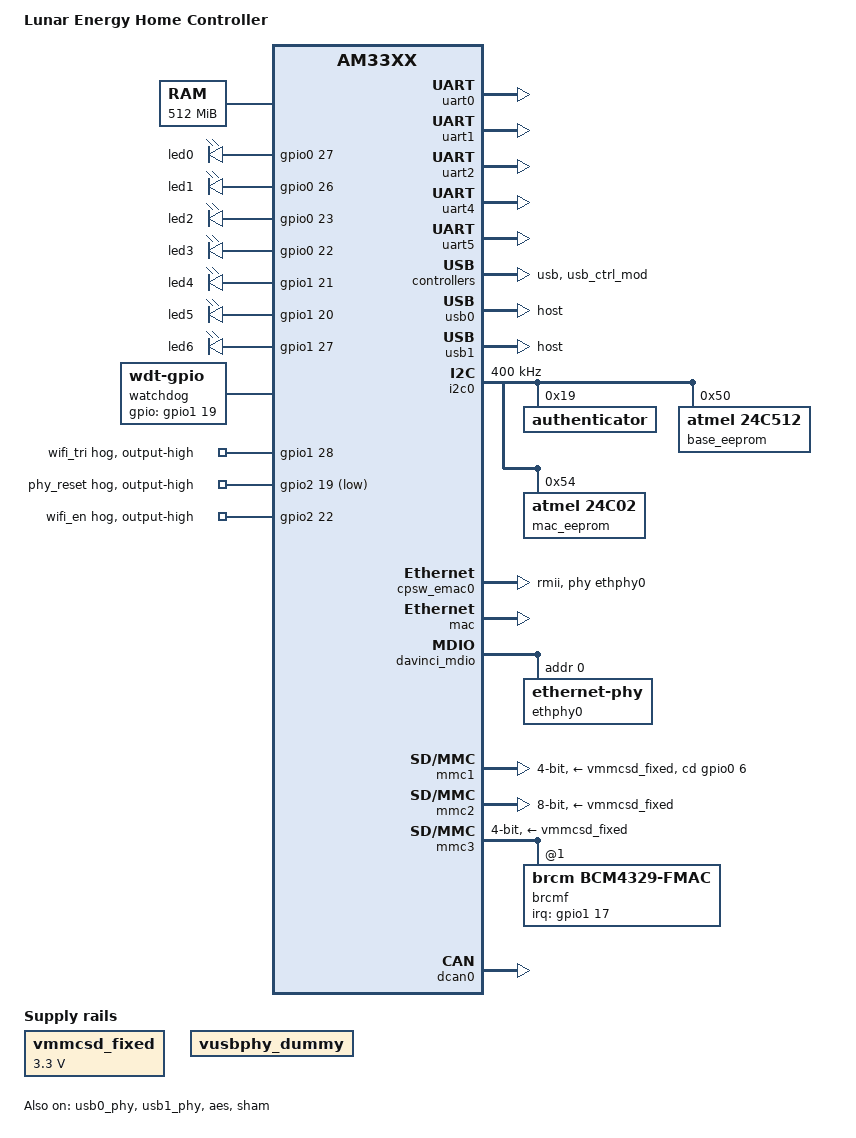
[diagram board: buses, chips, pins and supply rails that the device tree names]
// SPDX-License-Identifier: GPL-2.0-only
/*
 * Copyright (C) 2012 Texas Instruments Incorporated - http://www.ti.com/
 */
/dts-v1/;

#include "am33xx.dtsi"
#include <dt-bindings/interrupt-controller/irq.h>

/ {
	model = "Lunar Energy Home Controller";
	compatible = "ti,am335x-bone-black", "ti,am335x-bone", "ti,am33xx";
};

/ {
	cpus {
		cpu@0 {
		};
	};

	memory@80000000 {
		device_type = "memory";
		reg = <0x80000000 0x20000000>; /* 512 MB */
	};

	chosen {
		stdout-path = &uart0;
	};

	leds {
		pinctrl-names = "default";
		pinctrl-0 = <&user_leds_s0>;

		compatible = "gpio-leds";

		usr_0_led {
			label = "led0";
			gpios = <&gpio0 27 GPIO_ACTIVE_HIGH>;
			default-state = "off";
		};
		usr_1_led {
			label = "led1";
			gpios = <&gpio0 26 GPIO_ACTIVE_HIGH>;
			default-state = "off";
		};
		usr_2_led {
			label = "led2";
			gpios = <&gpio0 23 GPIO_ACTIVE_HIGH>;
			default-state = "off";
		};
		usr_3_led {
			label = "led3";
			gpios = <&gpio0 22 GPIO_ACTIVE_HIGH>;
			default-state = "off";
		};
		usr_4_led {
			label = "led4";
			gpios = <&gpio1 21 GPIO_ACTIVE_HIGH>;
			default-state = "off";
		};
		usr_5_led {
			label = "led5";
			gpios = <&gpio1 20 GPIO_ACTIVE_HIGH>;
			default-state = "off";
		};
		usr_6_led {
			label = "led6";
			gpios = <&gpio1 27 GPIO_ACTIVE_HIGH>;
			default-state = "off";
		};
	};

	vmmcsd_fixed: fixedregulator0 {
		compatible = "regulator-fixed";
		regulator-name = "vmmcsd_fixed";
		regulator-min-microvolt = <3300000>;
		regulator-max-microvolt = <3300000>;
	};

	vusbphy_dummy: fixedregulator1 {
		compatible = "regulator-fixed";
		regulator-name = "vusbphy_dummy";
		regulator-always-on;
	};

	bandgap@44e10448 {
		compatible = "ti,am335x-bandgap";
		reg = <0x44e10448 0x8>;
	};

	watchdog: watchdog {
		/* MAX6371 on GPIO */
		pinctrl-names = "default";
		pinctrl-0 = <&wdog_pins>;
		compatible = "linux,wdt-gpio";
		gpios = <&gpio1 19 GPIO_ACTIVE_HIGH>;
		hw_algo = "toggle";
		hw_margin_ms = <60000>;
	};
};

&cpu0_opp_table {
	oppnitro-1000000000 {
		opp-supported-hw = <0x06 0x0100>;
	};
};

&gpio3 {
	status = "okay";
};

&am33xx_pinmux {
	pinctrl-names = "default";
	pinctrl-0 = < &clkout2_pin &gpio_pins >;

	/* GPIOs
		GPIO0_2 is DC_PLC_RST
		GPIO0_3 is GPIO1
		GPIO0_4 is GPIO0
		GPIO0_5 is AC_PLC_RST
		GPIO1_24 is EXT_BUT
		GPIO3_4 is AC_PLC_SEL
		GPIO3_14 is DC_PLC_SEL
	*/
	gpio_pins: pinmux_gpio_pins {
		pinctrl-single,pins = <
			AM33XX_IOPAD(AM335X_PIN_SPI0_SCLK, PIN_OUTPUT | MUX_MODE7)			/* (A17) spi0_sclk.gpio0_2 */
			AM33XX_IOPAD(AM335X_PIN_SPI0_D0, PIN_OUTPUT | MUX_MODE7)			/* (B17) spi0_d0.gpio0_3 */
			AM33XX_IOPAD(AM335X_PIN_SPI0_D1, PIN_OUTPUT | MUX_MODE7)			/* (B16) spi0_d1.gpio0_4 */
			AM33XX_IOPAD(AM335X_PIN_SPI0_CS0, PIN_OUTPUT | MUX_MODE7)			/* (A16) spi0_cs0.gpio0_5 */
			AM33XX_IOPAD(AM335X_PIN_GPMC_A8, PIN_INPUT | MUX_MODE7)				/* (V16) gpmc_a8.gpio1_24 */
			AM33XX_IOPAD(AM335X_PIN_MII1_RX_DV, PIN_OUTPUT | MUX_MODE7)			/* (J17) gmii1_rxdv.gpio3_4 */
			AM33XX_IOPAD(AM335X_PIN_MCASP0_ACLKX, PIN_OUTPUT | MUX_MODE7)			/* (A13) mcasp0_aclkx.gpio3_14 */
		>;
	};

	/* USB0 = BG95 Cellular comms
		GPIO0_18 is USB0_EN
	*/
	usb0_pins: pinmux_usb0_pins {
		pinctrl-single,pins = <
			AM33XX_IOPAD(AM335X_PIN_USB0_DRVVBUS, PIN_OUTPUT_PULLDOWN | MUX_MODE7)		/* (F16) usb0_drvvbus.gpio0_18 */
		>;
	};

        /* BG95
                GPIO1_16 is BG_ANT_SEL
		GPIO1_22 is BG_STATUS
		GPIO3_15 is PWR_KEY
         */
        bg95_pins: pinmux_bg95_pins {
                pinctrl-single,pins = <
			AM33XX_IOPAD(AM335X_PIN_GPMC_A0, PIN_OUTPUT | MUX_MODE7)			/* (R13) gpmc_a0.gpio1_16 */
			AM33XX_IOPAD(AM335X_PIN_GPMC_A6, PIN_INPUT | MUX_MODE7)				/* (U15) gpmc_a6.gpio1_22 */
			AM33XX_IOPAD(AM335X_PIN_MCASP0_FSX, PIN_OUTPUT_PULLDOWN | MUX_MODE7)		/* (B13) mcasp0_fsx.gpio3_15 */
                >;
        };


	/* USB1 = Host comms
		GPIO3_13 is USB1_EN
	*/
	usb1_pins: pinmux_usb1_pins {
		pinctrl-single,pins = <
			AM33XX_IOPAD(AM335X_PIN_USB1_DRVVBUS, PIN_OUTPUT_PULLDOWN | MUX_MODE7)		/* (F15) usb1_drvvbus.gpio3_13 */
		>;
	};

	clkout2_pin: pinmux_clkout2_pin {
		pinctrl-single,pins = <
			AM33XX_IOPAD(AM335X_PIN_XDMA_EVENT_INTR1, PIN_OUTPUT_PULLDOWN | MUX_MODE3)	/* (D14) xdma_event_intr1.clkout2 */
		>;
	};

	/* User LEDs */
	user_leds_s0: user_leds_s0 {
		pinctrl-single,pins = <
			AM33XX_IOPAD(AM335X_PIN_GPMC_AD11, PIN_OUTPUT | MUX_MODE7)			/* (U12) gpmc_ad11.gpio0_27 */
			AM33XX_IOPAD(AM335X_PIN_GPMC_AD10, PIN_OUTPUT | MUX_MODE7)			/* (T11) gpmc_ad10.gpio0_26 */
			AM33XX_IOPAD(AM335X_PIN_GPMC_AD9, PIN_OUTPUT | MUX_MODE7)			/* (T10) gpmc_ad9.gpio0_23 */
			AM33XX_IOPAD(AM335X_PIN_GPMC_AD8, PIN_OUTPUT | MUX_MODE7)			/* (U10) gpmc_ad8.gpio0_22 */
			AM33XX_IOPAD(AM335X_PIN_GPMC_A5, PIN_OUTPUT | MUX_MODE7)			/* (V15) gpmc_a5.gpio1_21 */
			AM33XX_IOPAD(AM335X_PIN_GPMC_A4, PIN_OUTPUT | MUX_MODE7)			/* (R14) gpmc_a4.gpio1_20 */
			AM33XX_IOPAD(AM335X_PIN_GPMC_A11, PIN_OUTPUT | MUX_MODE7)			/* (V17) gpmc_a11.gpio1_27 */
		>;
	};

	/* I2C_0 = Authenticator, EEPROM, RTC/Wdog, MAC EEPROM */
	i2c0_pins: pinmux_i2c0_pins {
		pinctrl-single,pins = <
			AM33XX_IOPAD(AM335X_PIN_I2C0_SCL, PIN_INPUT_PULLUP | MUX_MODE0)			/* (C16) i2c0_scl.i2c0_scl */
			AM33XX_IOPAD(AM335X_PIN_I2C0_SDA, PIN_INPUT_PULLUP | MUX_MODE0)			/* (C17) i2c0_sda.i2c0_sda */
		>;
	};

	/* UART0 = Console */
	uart0_pins: pinmux_uart0_pins {
		pinctrl-single,pins = <
			AM33XX_IOPAD(AM335X_PIN_UART0_RXD, PIN_INPUT_PULLUP | MUX_MODE0)		/* (E15) uart0_rxd.uart0_rxd */
			AM33XX_IOPAD(AM335X_PIN_UART0_TXD, PIN_OUTPUT_PULLDOWN | MUX_MODE0)		/* (E16) uart0_txd.uart0_txd */
		>;
	};

	/* UART1 = AC PLC comms */
	uart1_pins: pinmux_uart1_pins {
		pinctrl-single,pins = <
			AM33XX_IOPAD(AM335X_PIN_UART1_RXD, PIN_INPUT | MUX_MODE0)			/* (D16) uart1_rxd.uart1_rxd */
			AM33XX_IOPAD(AM335X_PIN_UART1_TXD, PIN_OUTPUT | MUX_MODE0)			/* (D15) uart1_txd.uart1_txd */
		>;
	};

	/* UART2 = DC PLC comms */
	uart2_pins: uart2_pins_default {
		pinctrl-single,pins = <
			AM33XX_IOPAD(AM335X_PIN_MII1_TX_CLK, PIN_INPUT | MUX_MODE1)			/* (K18) gmii1_tx_clk.uart2_rxd */
			AM33XX_IOPAD(AM335X_PIN_MII1_RX_CLK, PIN_OUTPUT | MUX_MODE1)			/* (L18) gmii1_rx_clk.uart2_txd */
		>;
	};

	/* UART4 = RS485
		GPIO2_24 is RS_TXEN
		GPIO2_25 is RS_RXEN
	 */
	uart4_pins: uart4_pins_default {
		pinctrl-single,pins = <
			AM33XX_IOPAD(AM335X_PIN_MII1_TXD3, PIN_INPUT | MUX_MODE3)			/* (J18) gmii1_txd3.uart4_rxd */
			AM33XX_IOPAD(AM335X_PIN_MII1_TXD2, PIN_OUTPUT | MUX_MODE3)			/* (K15) gmii1_txd2.uart4_txd */
			AM33XX_IOPAD(AM335X_PIN_LCD_PCLK, PIN_OUTPUT_PULLUP | MUX_MODE7)		/* (V5) lcd_pclk.gpio2_24 */
			AM33XX_IOPAD(AM335X_PIN_LCD_AC_BIAS_EN,	PIN_OUTPUT_PULLUP | MUX_MODE7)		/* (R6)	lcd_ac_bias_en.gpio2_25 */
		>;
	};

	/* UART5 = BT
		GPIO2_23 is BT_EN
	 */
	uart5_pins: uart5_pins_default {
		pinctrl-single,pins = <
			AM33XX_IOPAD(AM335X_PIN_LCD_DATA9, PIN_INPUT | MUX_MODE4)			/* (U2) lcd_data9.uart5_rxd */
			AM33XX_IOPAD(AM335X_PIN_LCD_DATA8, PIN_OUTPUT | MUX_MODE4)			/* (U1) lcd_data8.uart5_txd */
			AM33XX_IOPAD(AM335X_PIN_LCD_DATA14, PIN_INPUT | MUX_MODE6)			/* (V4) lcd_data14.uart5_ctsn */
			AM33XX_IOPAD(AM335X_PIN_LCD_DATA15, PIN_OUTPUT | MUX_MODE6)			/* (T5) lcd_data15.uart5_rtsn */
			AM33XX_IOPAD(AM335X_PIN_LCD_HSYNC, PIN_OUTPUT_PULLDOWN | MUX_MODE7)		/* (R5) lcd_hsync.gpio2_23 */
		>;
	};

	/* RMII Slave 1
		GPIO2_19 is R1RST
	*/
	cpsw_default: cpsw_default {
		pinctrl-single,pins = <
			AM33XX_IOPAD(AM335X_PIN_MII1_CRS, PIN_INPUT_PULLUP | MUX_MODE1)			/* (H17) gmii1_crs.rmii1_crs_dv */
			AM33XX_IOPAD(AM335X_PIN_MII1_RX_ER, PIN_INPUT_PULLUP | MUX_MODE1)		/* (J15) gmii1_rxer.rmii1_rxer */
			AM33XX_IOPAD(AM335X_PIN_MII1_TX_EN, PIN_OUTPUT | MUX_MODE1)			/* (J16) gmii1_txen.rmii1_txen */
			AM33XX_IOPAD(AM335X_PIN_MII1_TXD0, PIN_OUTPUT_PULLDOWN | MUX_MODE1)		/* (K17) gmii1_txd0.rmii1_txd0 */
			AM33XX_IOPAD(AM335X_PIN_MII1_TXD1, PIN_OUTPUT_PULLDOWN | MUX_MODE1)		/* (K16) gmii1_txd1.rmii1_txd1 */
			AM33XX_IOPAD(AM335X_PIN_MII1_RXD0, PIN_INPUT_PULLUP | MUX_MODE1)		/* (M16) gmii1_rxd0.rmii1_rxd0 */
			AM33XX_IOPAD(AM335X_PIN_MII1_RXD1, PIN_INPUT_PULLUP | MUX_MODE1)		/* (L15) gmii1_rxd1.rmii1_rxd1 */
			AM33XX_IOPAD(AM335X_PIN_RMII1_REF_CLK, PIN_INPUT_PULLUP | MUX_MODE0)		/* (H18) rmii1_refclk.rmii1_refclk */
			AM33XX_IOPAD(AM335X_PIN_MII1_RXD2, PIN_OUTPUT_PULLUP | MUX_MODE7)		/* (L16) gmii1_rxd2.gpio2_19 */
		>;
	};

	/* MDIO */
	davinci_mdio_default: davinci_mdio_default {
		pinctrl-single,pins = <
			AM33XX_IOPAD(AM335X_PIN_MDC, PIN_OUTPUT_PULLUP | MUX_MODE0)			/* (M18) mdio_clk.mdio_clk */
			AM33XX_IOPAD(AM335X_PIN_MDIO, PIN_INPUT_PULLUP | MUX_MODE0)			/* (M17) mdio_data.mdio_data */
		>;
	};

	davinci_mdio_sleep: davinci_mdio_sleep {
		pinctrl-single,pins = <
			AM33XX_IOPAD(AM335X_PIN_MDC, PIN_INPUT_PULLDOWN | MUX_MODE7)			/* (M18) mdio_clk.gpio0_1 */
			AM33XX_IOPAD(AM335X_PIN_MDIO, PIN_INPUT_PULLDOWN | MUX_MODE7)			/* (M17) mdio_data.gpio0_0 */
		>;
	};

	/* MMC1 = SD Card
		GPIO0_6 is Card Detect
	 */
	mmc1_pins: pinmux_mmc1_pins {
		pinctrl-single,pins = <
			AM33XX_IOPAD(AM335X_PIN_MMC0_CLK, PIN_INPUT_PULLUP | MUX_MODE0)			/* (G17) mmc0_clk.mmc0_clk */
			AM33XX_IOPAD(AM335X_PIN_MMC0_CMD, PIN_INPUT_PULLUP | MUX_MODE0)			/* (G18) mmc0_cmd.mmc0_cmd */
			AM33XX_IOPAD(AM335X_PIN_MMC0_DAT0, PIN_INPUT_PULLUP | MUX_MODE0)		/* (G16) mmc0_dat0.mmc0_dat0 */
			AM33XX_IOPAD(AM335X_PIN_MMC0_DAT1, PIN_INPUT_PULLUP | MUX_MODE0)		/* (G15) mmc0_dat1.mmc0_dat1 */
			AM33XX_IOPAD(AM335X_PIN_MMC0_DAT2, PIN_INPUT_PULLUP | MUX_MODE0)		/* (F18) mmc0_dat2.mmc0_dat2 */
			AM33XX_IOPAD(AM335X_PIN_MMC0_DAT3, PIN_INPUT_PULLUP | MUX_MODE0)		/* (F17) mmc0_dat3.mmc0_dat3 */
			AM33XX_IOPAD(AM335X_PIN_SPI0_CS1, PIN_INPUT | MUX_MODE7)			/* (C15) spio0_cs1.gpio0_6 */
		>;
	};

	/* MMC2 = eMMC */
	emmc_pins: pinmux_emmc_pins {
		pinctrl-single,pins = <
			AM33XX_IOPAD(AM335X_PIN_GPMC_CSN1, PIN_INPUT_PULLUP | MUX_MODE2)		/* (U9) gpmc_csn1.mmc1_clk */
			AM33XX_IOPAD(AM335X_PIN_GPMC_CSN2, PIN_INPUT_PULLUP | MUX_MODE2)		/* (V9) gpmc_csn2.mmc1_cmd */
			AM33XX_IOPAD(AM335X_PIN_GPMC_AD0, PIN_INPUT_PULLUP | MUX_MODE1)			/* (U7) gpmc_ad0.mmc1_dat0 */
			AM33XX_IOPAD(AM335X_PIN_GPMC_AD1, PIN_INPUT_PULLUP | MUX_MODE1)			/* (V7) gpmc_ad1.mmc1_dat1 */
			AM33XX_IOPAD(AM335X_PIN_GPMC_AD2, PIN_INPUT_PULLUP | MUX_MODE1)			/* (R8) gpmc_ad2.mmc1_dat2 */
			AM33XX_IOPAD(AM335X_PIN_GPMC_AD3, PIN_INPUT_PULLUP | MUX_MODE1)			/* (T8) gpmc_ad3.mmc1_dat3 */
			AM33XX_IOPAD(AM335X_PIN_GPMC_AD4, PIN_INPUT_PULLUP | MUX_MODE1)			/* (U8) gpmc_ad4.mmc1_dat4 */
			AM33XX_IOPAD(AM335X_PIN_GPMC_AD5, PIN_INPUT_PULLUP | MUX_MODE1)			/* (V8) gpmc_ad5.mmc1_dat5 */
			AM33XX_IOPAD(AM335X_PIN_GPMC_AD6, PIN_INPUT_PULLUP | MUX_MODE1)			/* (R9) gpmc_ad6.mmc1_dat6 */
			AM33XX_IOPAD(AM335X_PIN_GPMC_AD7, PIN_INPUT_PULLUP | MUX_MODE1)			/* (T9) gpmc_ad7.mmc1_dat7 */
		>;
	};

	/* MMC3 = WiFi */
	mmc3_pins: pinmux_mmc3_pins {
		pinctrl-single,pins = <
			AM33XX_IOPAD(AM335X_PIN_GPMC_CLK, PIN_INPUT_PULLUP | MUX_MODE3)			/* (V12) gpmc_clk.mmc2_clk */
			AM33XX_IOPAD(AM335X_PIN_GPMC_CSN3, PIN_INPUT_PULLUP | MUX_MODE3)		/* (T13) gpmc_csn3.mmc2_cmd */
			AM33XX_IOPAD(AM335X_PIN_GPMC_AD12, PIN_INPUT_PULLUP | MUX_MODE3)		/* (T12) gpmc_ad12.mmc2_dat0 */
			AM33XX_IOPAD(AM335X_PIN_GPMC_AD13, PIN_INPUT_PULLUP | MUX_MODE3)		/* (R12) gpmc_ad13.mmc2_dat1 */
			AM33XX_IOPAD(AM335X_PIN_GPMC_AD14, PIN_INPUT_PULLUP | MUX_MODE3)		/* (V13) gpmc_ad14.mmc2_dat2 */
			AM33XX_IOPAD(AM335X_PIN_GPMC_AD15, PIN_INPUT_PULLUP | MUX_MODE3)		/* (U13) gpmc_ad15.mmc2_dat3 */
		>;
	};

	/* WiFi
		GPIO0_31 is WIFI_ANT_SEL
		GPIO1_17 is WIFI_IRQ
		GPIO1_28 is WIFI_TRI
		GPIO2_22 is WIFI_EN
	 */
	wlan_pins: pinmux_wlan_pins {
		pinctrl-single,pins = <
			AM33XX_IOPAD(AM335X_PIN_GPMC_WPN, PIN_OUTPUT | MUX_MODE7)			/* (U17) gpmc_wpn.gpio0_31 */
			AM33XX_IOPAD(AM335X_PIN_GPMC_A1, PIN_INPUT | MUX_MODE7)				/* (V14) gpmc_a1.gpio1_17 */
			AM33XX_IOPAD(AM335X_PIN_GPMC_BEN1, PIN_OUTPUT | MUX_MODE7)			/* (U18) gpmc_be1n.gpio1_28 */
			AM33XX_IOPAD(AM335X_PIN_LCD_VSYNC, PIN_OUTPUT | MUX_MODE7)			/* (U5) lcd_vsync.gpio2_22 */
		>;
	};

	/* CAN bus */
	dcan0_pins: pinmux_dcan0_pins {
		pinctrl-single,pins = <
			AM33XX_IOPAD(AM335X_PIN_UART1_RTSN, PIN_INPUT_PULLUP | MUX_MODE2)		/* (D17) uart1_rtsn.dcan0_rx */
			AM33XX_IOPAD(AM335X_PIN_UART1_CTSN, PIN_OUTPUT_PULLUP | MUX_MODE2)		/* (D18) uart1_ctsn.dcan0_tx */
		>;
	};

	/* MAX6371 Watchdog
		GPIO1_19 is WD_IN
		GPIO1_23 is WD_SET0
		GPIO3_18 is WD_SET2
		GPIO3_21 is WD_SET1
	*/
	wdog_pins: pinmux_wdog_pins {
		pinctrl-single,pins = <
			AM33XX_IOPAD(AM335X_PIN_GPMC_A3, PIN_OUTPUT | MUX_MODE7)			/* (T14) gpmc_a3.gpio1_19 */
			AM33XX_IOPAD(AM335X_PIN_GPMC_A7, PIN_INPUT | MUX_MODE7)				/* (T15) gpmc_a7.gpio1_23 */
			AM33XX_IOPAD(AM335X_PIN_MCASP0_ACLKR, PIN_INPUT | MUX_MODE7)			/* (B12) mcasp0_aclkr.gpio3_18 */
			AM33XX_IOPAD(AM335X_PIN_MCASP0_AHCLKX, PIN_INPUT | MUX_MODE7)			/* (A14) mcasp0_ahclkx.gpio3_21 */
		>;
	};
};

/* UART0 = Console */
&uart0 {
	status = "okay";
	pinctrl-names = "default";
	pinctrl-0 = <&uart0_pins>;
};

/* UART1 = AC PLC comms */
&uart1 {
	status = "okay";
	pinctrl-names = "default";
	pinctrl-0 = <&uart1_pins>;
};

/* UART2 = DC PLC comms */
&uart2 {
	status = "okay";
	pinctrl-names = "default";
	pinctrl-0 = <&uart2_pins>;
};

/* UART4 = RS485 */
&uart4 {
	status = "okay";
	pinctrl-names = "default";
	pinctrl-0 = <&uart4_pins>;
	rts-gpio = <&gpio2 24 GPIO_ACTIVE_HIGH>;
	rs485-rts-active-high;
	rs485-rts-delay = <0 0>;
	linux,rs485-enabled-at-boot-time;
};

/* UART5 = BT */
&uart5 {
	status = "okay";
	pinctrl-names = "default";
	pinctrl-0 = <&uart5_pins>;
	uart-has-rtscts;
};

&usb {
	status = "okay";
};

&usb_ctrl_mod {
	status = "okay";
};

&usb0_phy {
	status = "okay";
	pinctrl-names = "default";
	pinctrl-0 = <&usb0_pins &bg95_pins>;
	vcc-supply = <&vusbphy_dummy>;
};

&usb0 {
	status = "okay";
	dr_mode = "host";
};

&usb1_phy {
	status = "okay";
	pinctrl-names = "default";
	pinctrl-0 = <&usb1_pins>;
	vcc-supply = <&vusbphy_dummy>;
};

&usb1 {
	status = "okay";
	dr_mode = "host";
};

&cppi41dma  {
	status = "okay";
};

&i2c0 {
	status = "okay";
	pinctrl-names = "default";
	pinctrl-0 = <&i2c0_pins>;

	clock-frequency = <400000>;

	/* SHA-3 Authenticator */
	authenticator: authenticator@19 {
		compatible = "";
		reg = <0x19>;
	};

	/* CAT24C512WI-GT3 64KB EEPROM */
	base_eeprom: eeprom@50 {
		compatible = "atmel,24c512";
		reg = <0x50>;
		pagesize = <128>;
		size = <65536>;
		address-width = <16>;
	};

	/* 24AA025E48T MAC ID 256B EEPROM */
	mac_eeprom: eeprom@54 {
		compatible = "atmel,24c02";
		reg = <0x54>;
		pagesize = <16>;
		size = <256>;
		address-width = <8>;
	};
};

&i2c1 {
	status = "disabled";
	pinctrl-0 = "";
};

&i2c2 {
	status = "disabled";
	pinctrl-0 = "";
};

&cpsw_emac0 {
	phy-handle = <&ethphy0>;
	phy-mode = "rmii";
};

&mac {
	status = "okay";
	pinctrl-names = "default";
	pinctrl-0 = <&cpsw_default>;
	slaves = <1>;
};

&davinci_mdio {
	status = "okay";
	pinctrl-names = "default", "sleep";
	pinctrl-0 = <&davinci_mdio_default>;
	pinctrl-1 = <&davinci_mdio_sleep>;

	ethphy0: ethernet-phy@0 {
		reg = <0>;
	};
};

&mmc1 {
	status = "okay";
	pinctrl-names = "default";
	pinctrl-0 = <&mmc1_pins>;
	vmmc-supply = <&vmmcsd_fixed>;
	bus-width = <4>;
	cd-gpios = <&gpio0 6 GPIO_ACTIVE_LOW>;
	cd-inverted;
};

&mmc2 {
	status = "okay";
	pinctrl-names = "default";
	pinctrl-0 = <&emmc_pins>;
	vmmc-supply = <&vmmcsd_fixed>;
	bus-width = <8>;
	ti,non-removable;
};

&mmc3 {
	status = "okay";
	pinctrl-names = "default";
	pinctrl-0 = <&mmc3_pins &wlan_pins>;
	vmmc-supply = <&vmmcsd_fixed>;
	bus-width = <4>;
	dmas = <&edma_xbar 12 0 1
		&edma_xbar 13 0 2>;
	dma-names = "tx", "rx";
	ti,non-removable;
	cap-power-off-card;
	cap-sdio-irq;
	no-1-8-v;
	ti,needs-special-hs-handling;
	keep-power-in-suspend;

	#address-cells = <1>;
	#size-cells = <0>;
	brcmf: wifi@1 {
		compatible = "brcm,bcm4329-fmac";
		reg = <1>;
		interrupt-parent = <&gpio1>;
		interrupts = <17 IRQ_TYPE_EDGE_RISING>;
	};
};

&aes {
	status = "okay";
};

&sham {
	status = "okay";
};

&dcan0 {
	status = "okay";
	pinctrl-names = "default";
	pinctrl-0 = <&dcan0_pins>;
};

/* Set the default state for the various enable/reset signals */
&gpio0 {
	gpio-line-names =
		"", "", "DC_PLC_RST", "GPIO1",
		"GPIO0", "AC_PLC_RST", "SD_CD", "",
		"", "", "", "",
		"", "", "", "",
		"", "", "USB0_EN", "",
		"", "", "LED3", "LED2",
		"", "", "LED1", "LED0",
		"", "", "", "WIFI_ANT_SEL";
};

&gpio1 {
	gpio-line-names =
		"", "", "", "",
		"", "", "", "",
		"", "", "", "",
		"", "", "", "",
		"BG_ANT_SEL", "", "", "WD_IN",
		"LED5", "LED4", "BG_STATUS", "WD_SET0",
		"EXT_BUT", "", "", "LED6",
		"WIFI_TRI", "", "", "";
	wifi_tri {
		gpio-hog;
		gpios = <28 GPIO_ACTIVE_HIGH>;
		output-high;
	};
};

&gpio2 {
	gpio-line-names =
		"", "", "", "",
		"", "", "BOOT0", "BOOT1",
		"BOOT2", "BOOT3", "BOOT4", "",
		"", "", "", "",
		"", "", "", "PHY_RESET",
		"", "", "WIFI_EN", "BT_EN",
		"RS_TXEN", "RS_RXEN", "", "",
		"", "", "", "";
	phy_reset {
		gpio-hog;
		gpios = <19 GPIO_ACTIVE_LOW>;
		output-high;
	};
	wifi_en {
		gpio-hog;
		gpios = <22 GPIO_ACTIVE_HIGH>;
		output-high;
	};
};

&gpio3 {
	gpio-line-names =
		"", "", "", "",
		"AC_PLC_SEL", "", "", "",
		"", "", "", "",
		"", "USB1_EN", "DC_PLC_SEL", "PWR_KEY",
		"IO2", "IO3", "WD_SET2", "IO5",
		"", "WD_SET1", "", "",
		"", "", "", "",
		"", "", "", "";
};
